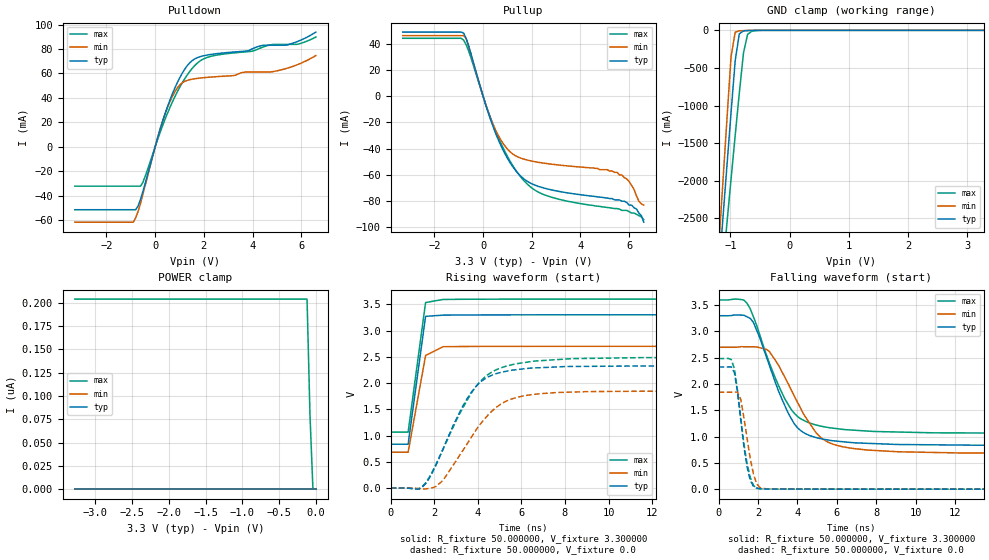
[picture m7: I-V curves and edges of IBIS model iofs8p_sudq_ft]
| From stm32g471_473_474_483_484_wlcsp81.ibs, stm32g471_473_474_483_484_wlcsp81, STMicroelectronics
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|   Model iofs8p_sudq_ft
[Model]  iofs8p_sudq_ft
Model_type I/O
Polarity   Non-Inverting
Enable   Active-Low
Vinl =   0.990000V
Vinh =   2.310000V
Vmeas =  1.650000V
Cref =   30.000000pF
Rref =   100.000000M
Vref =   0.0V
C_comp   2.036400pF   1.984000pF   2.082300pF
[Temperature Range]   25.000000   -40.000000   0.125000k
[Pullup Reference]   3.300000V   2.700000V   3.600000V
[Pulldown Reference]   0.0V   0.0V   0.0V
[POWER Clamp Reference]   3.300000V   2.700000V   3.600000V
[GND Clamp Reference]   0.0V   0.0V   0.0V
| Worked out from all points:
|   slope of the pulldown table from 0 to 0.495 V, typ, clamps not added: 15.4 ohm
|   slope of the pullup table from 0 to 0.495 V, typ, clamps not added: 18.1 ohm
|   GND clamp passes 1 mA (typ) near -0.60 V on its own axis
|   rising waveform, R_fixture 50.000000, V_fixture 3.300000: 20-80 % time 486ps typ, 526ps min, 494ps max; typ from 0.835 V to 3.3 V
|   rising waveform, R_fixture 50.000000, V_fixture 0.0: 20-80 % time 1.66ns typ, 1.92ns min, 1.89ns max; typ from 0 V to 2.33 V
|   falling waveform, R_fixture 50.000000, V_fixture 3.300000: 20-80 % time 1.55ns typ, 1.8ns min, 1.64ns max; typ from 3.3 V to 0.835 V
|   falling waveform, R_fixture 50.000000, V_fixture 0.0: 20-80 % time 470ps typ, 494ps min, 523ps max; typ from 2.33 V to 0 V
[Pulldown]
|Voltage   I(typ)   I(min)   I(max)
-3.3V     -51.63mA   -61.84mA   -32.32mA
-900mV    -51.63mA   -61.84mA   -32.32mA
-800mV    -51.63mA   -58.24mA   -32.32mA
-500mV    -36.51mA   -38.71mA   -28.96mA
400mV     26.66mA    26.58mA    22.18mA
800mV     47.72mA    44.74mA    40.6mA
1.1V      59.79mA    52.18mA    51.93mA
1.5V      70.22mA    55.24mA    63.66mA
2.1V      74.97mA    56.75mA    72.88mA
4.9V      83.19mA    61.75mA    83.83mA
5.9V      86.64mA    67.67mA    84.15mA
6.6V      93.9mA     74.68mA    89.84mA
[Pullup]
|Voltage   I(typ)   I(min)   I(max)
-3.3V     48.88mA    46.22mA    44.15mA
-800mV    48.12mA    46.22mA    42.77mA
-600mV    38.74mA    38.61mA    34.8mA
200mV     -11.99mA   -11.47mA   -11.05mA
600mV     -32.08mA   -29.08mA   -30.29mA
1.3V      -55.74mA   -45.02mA   -55.24mA
2V        -66.7mA    -49.43mA   -69.91mA
3.2V      -72.82mA   -52.6mA    -78.89mA
5.5V      -79mA      -58mA      -85.6mA
6V        -83mA      -65mA      -88mA
6.3V      -86mA      -76mA      -90mA
6.6V      -96mA      -83mA      -94mA
[GND_clamp]
|Voltage   I(typ)   I(min)   I(max)
-3.3V     -9.812A    -9.822A    -9.937A
-1.2V     -3.251A    -2.905A    -3.763A
-1.13V    -2.527A    -2.046A    -3.165A
-1.06V    -1.808A    -1.191A    -2.57A
-990mV    -1.097A    -352.6mA   -1.979A
-920mV    -404.2mA   -25.08mA   -1.398A
-850mV    -46.53mA   -6.503mA   -832.3mA
-780mV    -8.496mA   -3.578mA   -302.4mA
-710mV    -3.383mA   -1.716mA   -53.8mA
-640mV    -1.589mA   -553.8uA   -11.72mA
-360mV    -2.023uA   0A         -84.67uA
3.28V     0A         0A         0A
[POWER_clamp]
|Voltage   I(typ)   I(min)   I(max)
-3.28V    0A         0A         204.1nA
-120mV    0A         0A         204.1nA
-80mV     0A         0A         79.47nA
-40mV     0A         0A         0A
0V        0A         0A         0A
[Ramp]
| variable   typ   min   max
dV/dt_r  1.39476/1.65365n   1.10718/1.91179n   1.49076/1.88888n
dV/dt_f  1.47898/1.55098n   1.20995/1.79312n   1.52124/1.64197n
R_load = 50.000000
[Rising Waveform]
R_fixture= 50.000000
V_fixture= 3.300000
V_fixture_min= 2.700000
V_fixture_max= 3.600000
|time   V(typ)   V(min)   V(max)
0s        835mV      683.3mV    1.065V
800.8ps   834.5mV    682.9mV    1.065V
1.602ns   3.271V     2.523V     3.534V
2.402ns   3.294V     2.692V     3.593V
79.28ns   3.3V       2.7V       3.6V
[Rising Waveform]
R_fixture= 50.000000
V_fixture= 0.0
V_fixture_min= 0.0
V_fixture_max= 0.0
|time   V(typ)   V(min)   V(max)
0s        465.2nV    1.932uV    38.75nV
1.281ns   -21.71mV   -9.578mV   -16.11mV
1.602ns   82.37mV    -16.2mV    97.28mV
2.402ns   745.1mV    146.1mV    737.2mV
3.363ns   1.599V     748.8mV    1.563V
4.164ns   2.034V     1.243V     2.052V
5.125ns   2.21V      1.616V     2.298V
6.567ns   2.287V     1.784V     2.418V
11.69ns   2.325V     1.845V     2.485V
79.76ns   2.325V     1.845V     2.485V
[Falling Waveform]
R_fixture= 50.000000
V_fixture= 3.300000
V_fixture_min= 2.700000
V_fixture_max= 3.600000
|time   V(typ)   V(min)   V(max)
0s        3.3V       2.7V       3.6V
1.441ns   3.28V      2.709V     3.536V
1.762ns   3.176V     2.709V     3.285V
2.563ns   2.37V      2.625V     2.413V
3.363ns   1.587V     2.127V     1.716V
4.004ns   1.169V     1.652V     1.383V
5.125ns   965.4mV    1.003V     1.204V
6.406ns   898.8mV    798.9mV    1.133V
12.17ns   839.6mV    689.3mV    1.07V
79.76ns   835mV      683.3mV    1.065V
[Falling Waveform]
R_fixture= 50.000000
V_fixture= 0.0
V_fixture_min= 0.0
V_fixture_max= 0.0
|time   V(typ)   V(min)   V(max)
0s        2.325V     1.845V     2.485V
640.6ps   2.327V     1.845V     2.469V
800.8ps   2.216V     1.847V     2.293V
961ps     1.847V     1.846V     1.872V
1.121ns   1.328V     1.712V     1.362V
1.441ns   426.5mV    974.9mV    493.1mV
1.602ns   171.8mV    591.9mV    230.7mV
1.922ns   20.15mV    110.4mV    19.1mV
2.082ns   9.416mV    35.01mV    8.015mV
79.76ns   465.2nV    1.932uV    38.75nV
